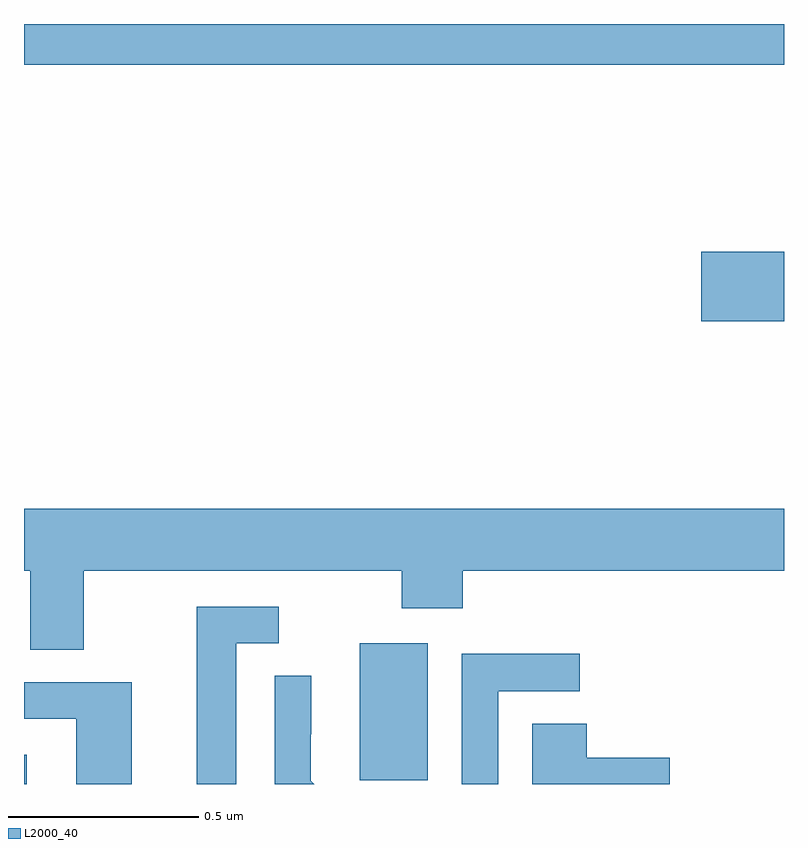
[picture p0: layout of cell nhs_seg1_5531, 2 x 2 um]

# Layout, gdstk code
import gdstk
lib = gdstk.Library(unit=1e-6, precision=1e-09)
def R(c, l, rs):  # rectangles x0, y0, x1, y1
    for r in rs: c.add(gdstk.rectangle(r[:2], r[2:], *l))
def P(c, l, *ps):  # polygons
    for p in ps: c.add(gdstk.Polygon(p, *l))
L2000_40 = (2000, 40)

nhs_seg1_5531 = lib.new_cell('nhs_seg1_5531')
R(nhs_seg1_5531, L2000_40, [(180,523.199,180.007,523.276), (180.884,523.209,181.063,523.57), (181.782,524.417,182,524.6), (180,525.092,182,525.199)])
P(nhs_seg1_5531, L2000_40, [(180.157,523.76),(180.994,523.76),(180.994,523.661),(181.154,523.661),(181.154,523.76),(182,523.76),(182,523.924),(180,523.924),(180,523.76),(180.017,523.76),(180.017,523.552),(180.157,523.552)],
  [(180.559,523.569),(180.67,523.569),(180.67,523.665),(180.455,523.665),(180.455,523.199),(180.559,523.199)],
  [(181.248,523.443),(181.462,523.443),(181.462,523.542),(181.152,523.542),(181.152,523.199),(181.248,523.199)],
  [(180.755,523.208),(180.755,523.33),(180.756,523.33),(180.756,523.484),(180.66,523.484),(180.66,523.199),(180.764,523.199)],
  [(180.283,523.467),(180,523.467),(180,523.371),(180.138,523.371),(180.138,523.199),(180.283,523.199)],
  [(181.699,523.268),(181.481,523.268),(181.481,523.358),(181.337,523.358),(181.337,523.199),(181.699,523.199)])

lib.write_gds('nhs_seg1_5531.gds')
